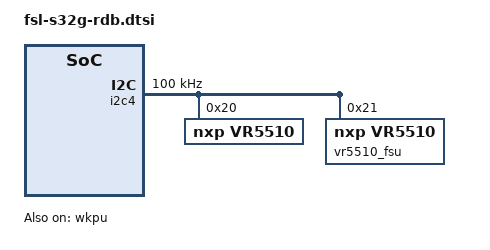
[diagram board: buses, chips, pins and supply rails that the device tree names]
/*
 * Copyright 2021-2022 NXP
 *
 * SPDX-License-Identifier: BSD-3-Clause
 */

/* PMIC */
&i2c4 {
	status = "okay";
	clock-frequency=<100000>;

	vr5510@20 {
		compatible = "nxp,vr5510";
		reg = <0x20>;
		status = "okay";
	};

	vr5510_fsu@21 {
		compatible = "nxp,vr5510";
		reg = <0x21>;
		status = "okay";
	};

};

&wkpu {
	status = "okay";
};
